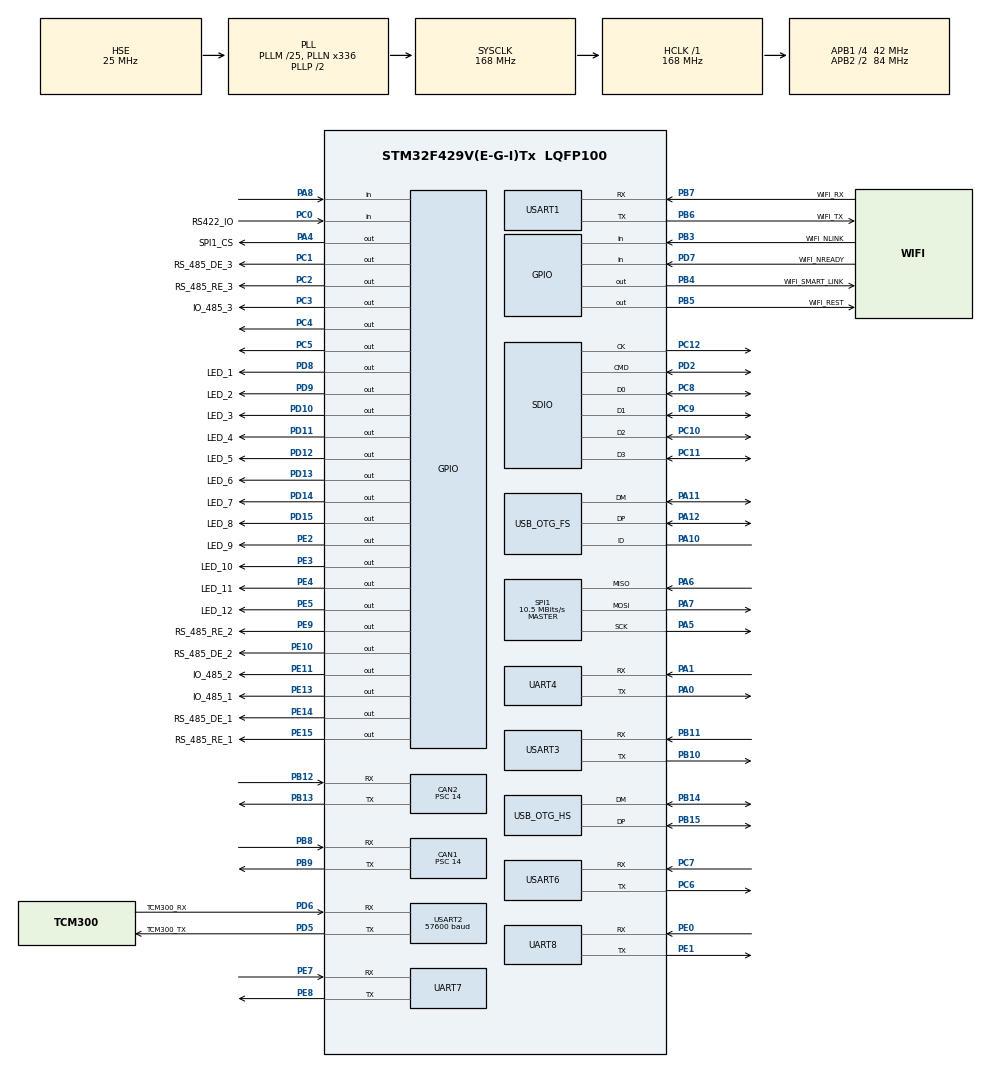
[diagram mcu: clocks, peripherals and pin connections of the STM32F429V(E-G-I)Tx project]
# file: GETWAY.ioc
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CAN1.BS1=CAN_BS1_2TQ
CAN1.BS2=CAN_BS2_3TQ
CAN1.CalculateTimeBit=2000
CAN1.CalculateTimeQuantum=333.33333333333337
CAN1.Prescaler=14
CAN2.BS1=CAN_BS1_3TQ
CAN2.BS2=CAN_BS2_2TQ
CAN2.CalculateTimeBit=2000
CAN2.CalculateTimeQuantum=333.33333333333337
CAN2.Prescaler=14
Dma.Request0=USART1_RX
Dma.Request1=USART1_TX
Dma.Request2=USART2_RX
Dma.Request3=USART2_TX
Dma.USART1_RX.0.Direction=DMA_PERIPH_TO_MEMORY
Dma.USART1_RX.0.FIFOMode=DMA_FIFOMODE_DISABLE
Dma.USART1_RX.0.Instance=DMA2_Stream2
Dma.USART1_RX.0.MemDataAlignment=DMA_MDATAALIGN_BYTE
Dma.USART1_RX.0.MemInc=DMA_MINC_ENABLE
Dma.USART1_RX.0.Mode=DMA_NORMAL
Dma.USART1_RX.0.PeriphDataAlignment=DMA_PDATAALIGN_BYTE
Dma.USART1_RX.0.PeriphInc=DMA_PINC_DISABLE
Dma.USART1_RX.0.Priority=DMA_PRIORITY_HIGH
Dma.USART1_TX.1.Direction=DMA_MEMORY_TO_PERIPH
Dma.USART1_TX.1.FIFOMode=DMA_FIFOMODE_DISABLE
Dma.USART1_TX.1.Instance=DMA2_Stream7
Dma.USART1_TX.1.MemDataAlignment=DMA_MDATAALIGN_BYTE
Dma.USART1_TX.1.MemInc=DMA_MINC_ENABLE
Dma.USART1_TX.1.Mode=DMA_NORMAL
Dma.USART1_TX.1.PeriphDataAlignment=DMA_PDATAALIGN_BYTE
Dma.USART1_TX.1.PeriphInc=DMA_PINC_DISABLE
Dma.USART1_TX.1.Priority=DMA_PRIORITY_HIGH
Dma.USART2_RX.2.Direction=DMA_PERIPH_TO_MEMORY
Dma.USART2_RX.2.FIFOMode=DMA_FIFOMODE_DISABLE
Dma.USART2_RX.2.Instance=DMA1_Stream5
Dma.USART2_RX.2.MemDataAlignment=DMA_MDATAALIGN_BYTE
Dma.USART2_RX.2.MemInc=DMA_MINC_ENABLE
Dma.USART2_RX.2.Mode=DMA_NORMAL
Dma.USART2_RX.2.PeriphDataAlignment=DMA_PDATAALIGN_BYTE
Dma.USART2_RX.2.PeriphInc=DMA_PINC_DISABLE
Dma.USART2_RX.2.Priority=DMA_PRIORITY_HIGH
Dma.USART2_TX.3.Direction=DMA_MEMORY_TO_PERIPH
Dma.USART2_TX.3.FIFOMode=DMA_FIFOMODE_DISABLE
Dma.USART2_TX.3.Instance=DMA1_Stream6
Dma.USART2_TX.3.MemDataAlignment=DMA_MDATAALIGN_BYTE
Dma.USART2_TX.3.MemInc=DMA_MINC_ENABLE
Dma.USART2_TX.3.Mode=DMA_NORMAL
Dma.USART2_TX.3.PeriphDataAlignment=DMA_PDATAALIGN_BYTE
Dma.USART2_TX.3.PeriphInc=DMA_PINC_DISABLE
Dma.USART2_TX.3.Priority=DMA_PRIORITY_HIGH
FATFS._CODE_PAGE=437
FATFS._USE_LFN=3
FREERTOS.INCLUDE_pcTaskGetTaskName=1
FREERTOS.INCLUDE_uxTaskGetStackHighWaterMark=1
FREERTOS.INCLUDE_xTaskGetCurrentTaskHandle=1
FREERTOS.Queues01=serial_queue,8,uint8_t,NULL;flash_queue,5,uint32_t,NULL;fatfs_queue,8,uint32_t,NULL;shell_queue,10,uint32_t,NULL;core_queue,10,uint32_t,NULL;tcm300_tx_queue,10,uint32_t,NULL
FREERTOS.Tasks01=shell,0,600,shellTask,Default;system_core,0,300,system_core_task,Default;serial_operat,2,400,serial_operat_task,Default;flash_server,2,600,flash_server_task,Default;fatfs_operater,2,600,fatfs_operater_task,Default;watcher_test,0,300,watcher_task,Default;web_server,0,128,web_server_task,Default
FREERTOS.configTOTAL_HEAP_SIZE=51200
FREERTOS.configUSE_IDLE_HOOK=1
FREERTOS.configUSE_TICK_HOOK=1
Mcu.Family=STM32F4
Mcu.Name=STM32F429V(E-G-I)Tx
Mcu.Package=LQFP100
NVIC.CAN1_RX0_IRQn=true\:5\:0\:false\:false\:true\:true
NVIC.DMA1_Stream5_IRQn=true\:5\:0\:false\:false\:true\:true
NVIC.DMA1_Stream6_IRQn=true\:5\:0\:false\:false\:true\:true
NVIC.DMA2_Stream2_IRQn=true\:5\:0\:false\:false\:true\:true
NVIC.DMA2_Stream7_IRQn=true\:5\:0\:false\:false\:true\:true
NVIC.OTG_HS_IRQn=true\:5\:0\:false\:false\:true\:true
NVIC.PriorityGroup=NVIC_PRIORITYGROUP_4
NVIC.SPI1_IRQn=true\:5\:0\:false\:false\:true\:true
NVIC.TIM1_BRK_TIM9_IRQn=true\:5\:0\:false\:false\:true\:true
NVIC.TIM1_UP_TIM10_IRQn=true\:0\:0\:false\:false\:true\:false
NVIC.TIM2_IRQn=true\:5\:0\:false\:false\:true\:true
NVIC.TIM3_IRQn=true\:5\:0\:false\:false\:true\:true
NVIC.TIM4_IRQn=true\:5\:0\:false\:false\:true\:true
NVIC.TIM6_DAC_IRQn=true\:5\:0\:false\:false\:true\:true
NVIC.TIM7_IRQn=true\:5\:0\:false\:false\:true\:true
NVIC.TIM8_UP_TIM13_IRQn=true\:5\:0\:false\:false\:true\:true
NVIC.TimeBase=TIM1_UP_TIM10_IRQn
NVIC.TimeBaseIP=TIM1
NVIC.UART7_IRQn=true\:8\:0\:true\:false\:true\:true
NVIC.UART8_IRQn=true\:11\:0\:true\:false\:true\:true
NVIC.USART1_IRQn=true\:5\:0\:false\:false\:true\:true
NVIC.USART2_IRQn=true\:5\:0\:false\:false\:true\:true
NVIC.USART6_IRQn=true\:5\:0\:false\:false\:true\:true
PA0/WKUP.Mode=Asynchronous
PA0/WKUP.Signal=UART4_TX
PA1.Mode=Asynchronous
PA1.Signal=UART4_RX
PA10.Mode=OTG/Dual_Role_Device
PA10.Signal=USB_OTG_FS_ID
PA11.Mode=OTG/Dual_Role_Device
PA11.Signal=USB_OTG_FS_DM
PA12.Mode=OTG/Dual_Role_Device
PA12.Signal=USB_OTG_FS_DP
PA13.Mode=Serial_Wire
PA13.Signal=SYS_JTMS-SWDIO
PA14.Mode=Serial_Wire
PA14.Signal=SYS_JTCK-SWCLK
PA4.GPIO_Label=SPI1_CS
PA4.GPIO_PuPd=GPIO_NOPULL
PA4.GPIO_Speed=GPIO_SPEED_FREQ_VERY_HIGH
PA4.Signal=GPIO_Output
PA5.Mode=Full_Duplex_Master
PA5.Signal=SPI1_SCK
PA6.Mode=Full_Duplex_Master
PA6.Signal=SPI1_MISO
PA7.Mode=Full_Duplex_Master
PA7.Signal=SPI1_MOSI
PA8.Signal=GPIO_Input
PB10.Mode=Asynchronous
PB10.Signal=USART3_TX
PB11.Mode=Asynchronous
PB11.Signal=USART3_RX
PB12.Mode=Slave
PB12.Signal=CAN2_RX
PB13.Mode=Slave
PB13.Signal=CAN2_TX
PB14.Mode=Host_FS
PB14.Signal=USB_OTG_HS_DM
PB15.Mode=Host_FS
PB15.Signal=USB_OTG_HS_DP
PB3.GPIO_Label=WIFI_NLINK
PB3.Signal=GPIO_Input
PB4.GPIO_Label=WIFI_SMART_LINK
PB4.GPIO_PuPd=GPIO_PULLUP
PB4.Signal=GPIO_Output
PB5.GPIO_Label=WIFI_REST
PB5.GPIO_PuPd=GPIO_PULLUP
PB5.Signal=GPIO_Output
PB6.GPIO_Label=WIFI_TX
PB6.Mode=Asynchronous
PB6.Signal=USART1_TX
PB7.GPIO_Label=WIFI_RX
PB7.Mode=Asynchronous
PB7.Signal=USART1_RX
PB8.Mode=Master
PB8.Signal=CAN1_RX
PB9.Mode=Master
PB9.Signal=CAN1_TX
PC0.GPIO_Label=RS422_IO
PC0.Signal=GPIO_Input
PC1.GPIO_Label=RS_485_DE_3
PC1.GPIO_Speed=GPIO_SPEED_FREQ_VERY_HIGH
PC1.Signal=GPIO_Output
PC10.Mode=SD_4_bits_Wide_bus
PC10.Signal=SDIO_D2
PC11.Mode=SD_4_bits_Wide_bus
PC11.Signal=SDIO_D3
PC12.Mode=SD_4_bits_Wide_bus
PC12.Signal=SDIO_CK
PC14/OSC32_IN.Mode=LSE-External-Oscillator
PC14/OSC32_IN.Signal=RCC_OSC32_IN
PC15/OSC32_OUT.Mode=LSE-External-Oscillator
PC15/OSC32_OUT.Signal=RCC_OSC32_OUT
PC2.GPIO_Label=RS_485_RE_3
PC2.GPIO_Speed=GPIO_SPEED_FREQ_VERY_HIGH
PC2.Signal=GPIO_Output
PC3.GPIO_Label=IO_485_3
PC3.GPIO_Speed=GPIO_SPEED_FREQ_VERY_HIGH
PC3.Signal=GPIO_Output
PC4.GPIO_PuPd=GPIO_PULLUP
PC4.Signal=GPIO_Output
PC5.GPIO_PuPd=GPIO_PULLUP
PC5.Signal=GPIO_Output
PC6.Mode=Asynchronous
PC6.Signal=USART6_TX
PC7.Mode=Asynchronous
PC7.Signal=USART6_RX
PC8.Mode=SD_4_bits_Wide_bus
PC8.Signal=SDIO_D0
PC9.Mode=SD_4_bits_Wide_bus
PC9.Signal=SDIO_D1
PD10.GPIO_Label=LED_3
PD10.GPIO_PuPd=GPIO_PULLUP
PD10.GPIO_Speed=GPIO_SPEED_FREQ_VERY_HIGH
PD10.Signal=GPIO_Output
PD11.GPIO_Label=LED_4
PD11.GPIO_PuPd=GPIO_PULLUP
PD11.GPIO_Speed=GPIO_SPEED_FREQ_VERY_HIGH
PD11.Signal=GPIO_Output
PD12.GPIO_Label=LED_5
PD12.GPIO_PuPd=GPIO_PULLUP
PD12.GPIO_Speed=GPIO_SPEED_FREQ_VERY_HIGH
PD12.Signal=GPIO_Output
PD13.GPIO_Label=LED_6
PD13.GPIO_PuPd=GPIO_PULLUP
PD13.GPIO_Speed=GPIO_SPEED_FREQ_VERY_HIGH
PD13.Signal=GPIO_Output
PD14.GPIO_Label=LED_7
PD14.GPIO_PuPd=GPIO_PULLUP
PD14.GPIO_Speed=GPIO_SPEED_FREQ_VERY_HIGH
PD14.Signal=GPIO_Output
PD15.GPIO_Label=LED_8
PD15.GPIO_PuPd=GPIO_PULLUP
PD15.GPIO_Speed=GPIO_SPEED_FREQ_VERY_HIGH
PD15.Signal=GPIO_Output
PD2.Mode=SD_4_bits_Wide_bus
PD2.Signal=SDIO_CMD
PD5.GPIO_Label=TCM300_TX
PD5.Mode=Asynchronous
PD5.Signal=USART2_TX
PD6.GPIO_Label=TCM300_RX
PD6.Mode=Asynchronous
PD6.Signal=USART2_RX
PD7.GPIO_Label=WIFI_NREADY
PD7.Signal=GPIO_Input
PD8.GPIO_Label=LED_1
PD8.GPIO_Speed=GPIO_SPEED_FREQ_VERY_HIGH
PD8.Signal=GPIO_Output
PD9.GPIO_Label=LED_2
PD9.GPIO_Speed=GPIO_SPEED_FREQ_VERY_HIGH
PD9.Signal=GPIO_Output
PE0.Mode=Asynchronous
PE0.Signal=UART8_RX
PE1.Mode=Asynchronous
PE1.Signal=UART8_TX
PE10.GPIO_Label=RS_485_DE_2
PE10.GPIO_Speed=GPIO_SPEED_FREQ_VERY_HIGH
PE10.Signal=GPIO_Output
PE11.GPIO_Label=IO_485_2
PE11.GPIO_Speed=GPIO_SPEED_FREQ_VERY_HIGH
PE11.Signal=GPIO_Output
PE13.GPIO_Label=IO_485_1
PE13.GPIO_Speed=GPIO_SPEED_FREQ_VERY_HIGH
PE13.Signal=GPIO_Output
PE14.GPIO_Label=RS_485_DE_1
PE14.GPIO_Speed=GPIO_SPEED_FREQ_VERY_HIGH
PE14.Signal=GPIO_Output
PE15.GPIO_Label=RS_485_RE_1
PE15.GPIO_Speed=GPIO_SPEED_FREQ_VERY_HIGH
PE15.Signal=GPIO_Output
PE2.GPIO_Label=LED_9
PE2.GPIO_PuPd=GPIO_PULLUP
PE2.GPIO_Speed=GPIO_SPEED_FREQ_VERY_HIGH
PE2.Signal=GPIO_Output
PE3.GPIO_Label=LED_10
PE3.GPIO_PuPd=GPIO_PULLUP
PE3.GPIO_Speed=GPIO_SPEED_FREQ_VERY_HIGH
PE3.Signal=GPIO_Output
PE4.GPIO_Label=LED_11
PE4.GPIO_PuPd=GPIO_PULLUP
PE4.GPIO_Speed=GPIO_SPEED_FREQ_VERY_HIGH
PE4.Signal=GPIO_Output
PE5.GPIO_Label=LED_12
PE5.GPIO_PuPd=GPIO_PULLUP
PE5.GPIO_Speed=GPIO_SPEED_FREQ_VERY_HIGH
PE5.Signal=GPIO_Output
PE7.Mode=Asynchronous
PE7.Signal=UART7_RX
PE8.Mode=Asynchronous
PE8.Signal=UART7_TX
PE9.GPIO_Label=RS_485_RE_2
PE9.GPIO_Speed=GPIO_SPEED_FREQ_VERY_HIGH
PE9.Signal=GPIO_Output
PH0/OSC_IN.Mode=HSE-External-Oscillator
PH0/OSC_IN.Signal=RCC_OSC_IN
PH1/OSC_OUT.Mode=HSE-External-Oscillator
PH1/OSC_OUT.Signal=RCC_OSC_OUT
ProjectManager.HeapSize=0x1000
ProjectManager.StackSize=0x1400
ProjectManager.TargetToolchain=MDK-ARM V5
RCC.48MHZClocksFreq_Value=48000000
RCC.AHBFreq_Value=168000000
RCC.APB1CLKDivider=RCC_HCLK_DIV4
RCC.APB1Freq_Value=42000000
RCC.APB1TimFreq_Value=84000000
RCC.APB2CLKDivider=RCC_HCLK_DIV2
RCC.APB2Freq_Value=84000000
RCC.APB2TimFreq_Value=168000000
RCC.CortexFreq_Value=168000000
RCC.HCLKFreq_Value=168000000
RCC.HSE_VALUE=25000000
RCC.HSI_VALUE=16000000
RCC.PLLM=25
RCC.PLLN=336
RCC.PLLQ=7
RCC.RCC_RTC_Clock_Source=RCC_RTCCLKSOURCE_LSE
RCC.RCC_RTC_Clock_SourceVirtual=RCC_RTCCLKSOURCE_LSE
RCC.SYSCLKFreq_VALUE=168000000
RCC.SYSCLKSource=RCC_SYSCLKSOURCE_PLLCLK
RCC.VCOOutputFreq_Value=336000000
RTC.Format=RTC_FORMAT_BIN
RTC.Hours=12
RTC.Minutes=23
RTC.Seconds=34
SDIO.BusWide=SDIO_BUS_WIDE_1B
SDIO.ClockDiv=2
SDIO.WideMode=SDIO_BUS_WIDE_4B
SPI1.BaudRatePrescaler=SPI_BAUDRATEPRESCALER_8
SPI1.CalculateBaudRate=10.5 MBits/s
SPI1.Mode=SPI_MODE_MASTER
SPI1.TIMode=SPI_TIMODE_DISABLE
TIM2.Period=2999
TIM2.Prescaler=83
TIM3.Period=1999
TIM3.Prescaler=83
TIM4.Period=999
TIM4.Prescaler=83
TIM5.Period=999
TIM5.Prescaler=83
TIM6.Period=999
TIM6.Prescaler=83
TIM7.Period=999
TIM7.Prescaler=83
TIM8.Period=999
TIM8.Prescaler=167
TIM9.Period=999
TIM9.Prescaler=167
USART2.BaudRate=57600
USB_HOST.USBH_HandleTypeDef-MSC_HS=hUsbHostHS
USB_HOST.VirtualModeHS=Msc
USB_OTG_HS.VirtualMode-Host_FS=Host_FS
VP_FATFS_VS_SDIO.Mode=SDIO
VP_FATFS_VS_USB.Mode=USB
VP_FREERTOS_VS_ENABLE.Mode=Enabled
VP_RTC_VS_RTC_WakeUp_intern.Mode=WakeUp
VP_SYS_VS_tim1.Mode=TIM1
VP_TIM2_VS_ClockSourceINT.Mode=Internal
VP_TIM3_VS_ClockSourceINT.Mode=Internal
VP_TIM4_VS_ClockSourceINT.Mode=Internal
VP_TIM5_VS_ClockSourceINT.Mode=Internal
VP_TIM6_VS_ClockSourceINT.Mode=Enable_Timer
VP_TIM7_VS_ClockSourceINT.Mode=Enable_Timer
VP_TIM8_VS_ClockSourceINT.Mode=Internal
VP_TIM9_VS_ClockSourceINT.Mode=Internal
VP_USB_HOST_VS_USB_HOST_MSC_HS.Mode=MSC_HS
board=GETWAY

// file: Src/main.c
/**
  ******************************************************************************
  * File Name          : main.c
  * Description        : Main program body
  ******************************************************************************
  *
  * COPYRIGHT(c) 2017 STMicroelectronics
  *
  * Redistribution and use in source and binary forms, with or without modification,
  * are permitted provided that the following conditions are met:
  *   1. Redistributions of source code must retain the above copyright notice,
  *      this list of conditions and the following disclaimer.
  *   2. Redistributions in binary form must reproduce the above copyright notice,
  *      this list of conditions and the following disclaimer in the documentation
  *      and/or other materials provided with the distribution.
  *   3. Neither the name of STMicroelectronics nor the names of its contributors
  *      may be used to endorse or promote products derived from this software
  *      without specific prior written permission.
  *
  * THIS SOFTWARE IS PROVIDED BY THE COPYRIGHT HOLDERS AND CONTRIBUTORS "AS IS"
  * AND ANY EXPRESS OR IMPLIED WARRANTIES, INCLUDING, BUT NOT LIMITED TO, THE
  * IMPLIED WARRANTIES OF MERCHANTABILITY AND FITNESS FOR A PARTICULAR PURPOSE ARE
  * DISCLAIMED. IN NO EVENT SHALL THE COPYRIGHT HOLDER OR CONTRIBUTORS BE LIABLE
  * FOR ANY DIRECT, INDIRECT, INCIDENTAL, SPECIAL, EXEMPLARY, OR CONSEQUENTIAL
  * DAMAGES (INCLUDING, BUT NOT LIMITED TO, PROCUREMENT OF SUBSTITUTE GOODS OR
  * SERVICES; LOSS OF USE, DATA, OR PROFITS; OR BUSINESS INTERRUPTION) HOWEVER
  * CAUSED AND ON ANY THEORY OF LIABILITY, WHETHER IN CONTRACT, STRICT LIABILITY,
  * OR TORT (INCLUDING NEGLIGENCE OR OTHERWISE) ARISING IN ANY WAY OUT OF THE USE
  * OF THIS SOFTWARE, EVEN IF ADVISED OF THE POSSIBILITY OF SUCH DAMAGE.
  *
  ******************************************************************************
  */
#include "stm32f4xx_hal.h"
#include "cmsis_os.h"
#include "can.h"
#include "dma.h"
#include "fatfs.h"
#include "rtc.h"
#include "sdio.h"
#include "spi.h"
#include "tim.h"
#include "usart.h"
#include "usb_host.h"
#include "usb_otg_fs.h"
#include "gpio.h"

/* USER CODE BEGIN Includes */
#include "include.h"

extern unsigned char G_Usart1_Buff,G_Usart2_Buff,G_Usart3_Buff,G_Usart4_Buff,G_Usart5_Buff,G_Usart6_Buff;
extern osMessageQId serial_queueHandle;
extern osMessageQId flash_queueHandle;
extern osMessageQId fatfs_queueHandle;
extern osMessageQId shell_queueHandle;

void HAL_UART_RxCpltCallback(UART_HandleTypeDef *huart)
{
 	BaseType_t xHigherPriorityTaskWoken;
	xHigherPriorityTaskWoken = pdFALSE;
	 if(huart->Instance == USART6)
	 	{
	 		xQueueSendFromISR(shell_queueHandle,&G_Usart6_Buff,&xHigherPriorityTaskWoken);
	 	}
}

/* USER CODE END Includes */

/* USER CODE BEGIN PV */
/* Private variables ---------------------------------------------------------*/

/* USER CODE END PV */

void SystemClock_Config(void);
void Error_Handler(void);
void MX_FREERTOS_Init(void);

/* USER CODE BEGIN PFP */
/* Private function prototypes -----------------------------------------------*/

/* USER CODE END PFP */

int main(void)
{

  /* MCU Configuration----------------------------------------------------------*/

  /* Reset of all peripherals, Initializes the Flash interface and the Systick. */
  HAL_Init();

  /* Configure the system clock */
  SystemClock_Config();

  /* Initialize all configured peripherals */
  MX_GPIO_Init();
  MX_DMA_Init();
  MX_CAN1_Init();
  MX_CAN2_Init();
  MX_RTC_Init();
  MX_SDIO_SD_Init();
  MX_SPI1_Init();
  MX_UART4_Init();
  MX_UART7_Init();
  MX_UART8_Init();
  MX_USART1_UART_Init();
  MX_USART2_UART_Init();
  MX_USART3_UART_Init();
  MX_USART6_UART_Init();
  MX_USB_OTG_FS_USB_Init();
  MX_TIM2_Init();
  MX_TIM3_Init();
  MX_TIM4_Init();
  MX_TIM5_Init();
  MX_TIM6_Init();
  MX_TIM7_Init();
  MX_TIM8_Init();
  MX_TIM9_Init();

  /* USER CODE BEGIN 2 */
	RELEASE_WIFI_RESET;
	RELEASE_SMART_LINK;
	printf("\n\r\n\r        mcu init success!\n\r");
	printf("        starting freertos kernel...\n\r");
	//SET_SMART_LINK;

while(HAL_UART_Receive_IT(&huart6,&G_Usart6_Buff,1)==HAL_OK);

	my_usart1_init();
	//my_usart2_init();
  /* USER CODE END 2 */

  /* Call init function for freertos objects (in freertos.c) */
  MX_FREERTOS_Init();

  /* Start scheduler */
  osKernelStart();

  /* We should never get here as control is now taken by the scheduler */

  /* Infinite loop */
  while (1)
  {

  }

}

/** System Clock Configuration
*/
void SystemClock_Config(void)
{

  RCC_OscInitTypeDef RCC_OscInitStruct;
  RCC_ClkInitTypeDef RCC_ClkInitStruct;
  RCC_PeriphCLKInitTypeDef PeriphClkInitStruct;

  __HAL_RCC_PWR_CLK_ENABLE();

  __HAL_PWR_VOLTAGESCALING_CONFIG(PWR_REGULATOR_VOLTAGE_SCALE1);

  RCC_OscInitStruct.OscillatorType = RCC_OSCILLATORTYPE_HSE|RCC_OSCILLATORTYPE_LSE;
  RCC_OscInitStruct.HSEState = RCC_HSE_ON;
  RCC_OscInitStruct.LSEState = RCC_LSE_ON;
  RCC_OscInitStruct.PLL.PLLState = RCC_PLL_ON;
  RCC_OscInitStruct.PLL.PLLSource = RCC_PLLSOURCE_HSE;
  RCC_OscInitStruct.PLL.PLLM = 25;
  RCC_OscInitStruct.PLL.PLLN = 336;
  RCC_OscInitStruct.PLL.PLLP = RCC_PLLP_DIV2;
  RCC_OscInitStruct.PLL.PLLQ = 7;
  if (HAL_RCC_OscConfig(&RCC_OscInitStruct) != HAL_OK)
  {
    Error_Handler();
  }

  RCC_ClkInitStruct.ClockType = RCC_CLOCKTYPE_HCLK|RCC_CLOCKTYPE_SYSCLK
                              |RCC_CLOCKTYPE_PCLK1|RCC_CLOCKTYPE_PCLK2;
  RCC_ClkInitStruct.SYSCLKSource = RCC_SYSCLKSOURCE_PLLCLK;
  RCC_ClkInitStruct.AHBCLKDivider = RCC_SYSCLK_DIV1;
  RCC_ClkInitStruct.APB1CLKDivider = RCC_HCLK_DIV4;
  RCC_ClkInitStruct.APB2CLKDivider = RCC_HCLK_DIV2;
  if (HAL_RCC_ClockConfig(&RCC_ClkInitStruct, FLASH_LATENCY_5) != HAL_OK)
  {
    Error_Handler();
  }

  PeriphClkInitStruct.PeriphClockSelection = RCC_PERIPHCLK_RTC;
  PeriphClkInitStruct.RTCClockSelection = RCC_RTCCLKSOURCE_LSE;
  if (HAL_RCCEx_PeriphCLKConfig(&PeriphClkInitStruct) != HAL_OK)
  {
    Error_Handler();
  }

  HAL_SYSTICK_Config(HAL_RCC_GetHCLKFreq()/1000);

  HAL_SYSTICK_CLKSourceConfig(SYSTICK_CLKSOURCE_HCLK);

  /* SysTick_IRQn interrupt configuration */
  HAL_NVIC_SetPriority(SysTick_IRQn, 15, 0);
}

void HAL_TIM_PeriodElapsedCallback(TIM_HandleTypeDef *htim)
{
/* USER CODE BEGIN Callback 0 */
	BaseType_t xHigherPriorityTaskWoken;
	xHigherPriorityTaskWoken = pdFALSE;
	if (htim->Instance == TIM2) {
  	HAL_TIM_Base_Stop_IT(&htim2);
	if(data_from_tcm300.dma_cndtr ==  huart2.hdmarx->Instance->NDTR)
		{
		        HAL_UART_DMAStop(&huart2);
			data_from_tcm300.data_len = TCM300_RECV_BUFF_SIZE -data_from_tcm300.dma_cndtr;
			Tcm300_Mesg = USART2_RECV_DATA;
			xQueueSendFromISR(serial_queueHandle,&Tcm300_Mesg,&xHigherPriorityTaskWoken);
			transfer_tcm300_rxdata();
			HAL_UART_Receive_DMA(&huart2, data_from_tcm300.rx_data, TCM300_RECV_BUFF_SIZE);
		}
	else
		{
			HAL_TIM_Base_Start_IT(&htim2);
			data_from_tcm300.dma_cndtr =  huart2.hdmarx->Instance->NDTR;
		}
  	}

	if (htim->Instance == TIM3) {
  	HAL_TIM_Base_Stop_IT(&htim3);
	if(data_from_wifi.dma_cndtr ==  huart1.hdmarx->Instance->NDTR)
		{
		        HAL_UART_DMAStop(&huart1);
			data_from_wifi.data_len = WIFI_RECV_BUFF_SIZE -data_from_wifi.dma_cndtr;
			Wifi_Mesg = USART1_RECV_DATA;
			xQueueSendFromISR(serial_queueHandle,&Wifi_Mesg,&xHigherPriorityTaskWoken);
			transfer_wifi_rxdata();
			HAL_UART_Receive_DMA(&huart1, data_from_wifi.rx_data, WIFI_RECV_BUFF_SIZE);
		}
	else
		{
			HAL_TIM_Base_Start_IT(&htim3);
			data_from_wifi.dma_cndtr =  huart1.hdmarx->Instance->NDTR;
		}
 	}
/* USER CODE END Callback 0 */
  if (htim->Instance == TIM1) {
    HAL_IncTick();
  }
}

void Error_Handler(void)
{
  while(1)
  {
  }
}

/************************ (C) COPYRIGHT STMicroelectronics *****END OF FILE****/

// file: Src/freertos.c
/**
  ******************************************************************************
  * File Name          : freertos.c
  * Description        : Code for freertos applications
  ******************************************************************************
  *
  * COPYRIGHT(c) 2017 STMicroelectronics
  *
  * Redistribution and use in source and binary forms, with or without modification,
  * are permitted provided that the following conditions are met:
  *   1. Redistributions of source code must retain the above copyright notice,
  *      this list of conditions and the following disclaimer.
  *   2. Redistributions in binary form must reproduce the above copyright notice,
  *      this list of conditions and the following disclaimer in the documentation
  *      and/or other materials provided with the distribution.
  *   3. Neither the name of STMicroelectronics nor the names of its contributors
  *      may be used to endorse or promote products derived from this software
  *      without specific prior written permission.
  *
  * THIS SOFTWARE IS PROVIDED BY THE COPYRIGHT HOLDERS AND CONTRIBUTORS "AS IS"
  * AND ANY EXPRESS OR IMPLIED WARRANTIES, INCLUDING, BUT NOT LIMITED TO, THE
  * IMPLIED WARRANTIES OF MERCHANTABILITY AND FITNESS FOR A PARTICULAR PURPOSE ARE
  * DISCLAIMED. IN NO EVENT SHALL THE COPYRIGHT HOLDER OR CONTRIBUTORS BE LIABLE
  * FOR ANY DIRECT, INDIRECT, INCIDENTAL, SPECIAL, EXEMPLARY, OR CONSEQUENTIAL
  * DAMAGES (INCLUDING, BUT NOT LIMITED TO, PROCUREMENT OF SUBSTITUTE GOODS OR
  * SERVICES; LOSS OF USE, DATA, OR PROFITS; OR BUSINESS INTERRUPTION) HOWEVER
  * CAUSED AND ON ANY THEORY OF LIABILITY, WHETHER IN CONTRACT, STRICT LIABILITY,
  * OR TORT (INCLUDING NEGLIGENCE OR OTHERWISE) ARISING IN ANY WAY OUT OF THE USE
  * OF THIS SOFTWARE, EVEN IF ADVISED OF THE POSSIBILITY OF SUCH DAMAGE.
  *
  ******************************************************************************
  */

#include "FreeRTOS.h"
#include "task.h"
#include "cmsis_os.h"
#include <string.h>
/* USER CODE BEGIN Includes */
#include "include.h"
/* USER CODE END Includes */

osThreadId shellHandle;
osThreadId system_coreHandle;
osThreadId serial_operatHandle;
osThreadId flash_serverHandle;
osThreadId fatfs_operaterHandle;
osThreadId watcher_testHandle;
osThreadId web_serverHandle;
osMessageQId serial_queueHandle;
osMessageQId flash_queueHandle;
osMessageQId fatfs_queueHandle;
osMessageQId shell_queueHandle;
osMessageQId core_queueHandle;
osMessageQId tcm300_tx_queueHandle;

/* USER CODE BEGIN Variables */
extern S_Save_Telegraph_cfg save_tel_cfg;
extern unsigned char G_Usart1_Buff,G_Usart2_Buff,G_Usart3_Buff,G_Usart4_Buff,G_Usart5_Buff,G_Usart6_Buff;

/* USER CODE END Variables */

void shellTask(void const * argument);
void system_core_task(void const * argument);
void serial_operat_task(void const * argument);
void flash_server_task(void const * argument);
void fatfs_operater_task(void const * argument);
void watcher_task(void const * argument);
void web_server_task(void const * argument);

extern void MX_FATFS_Init(void);
extern void MX_USB_HOST_Init(void);
void MX_FREERTOS_Init(void); /* (MISRA C 2004 rule 8.1) */

/* Hook prototypes */
void vApplicationIdleHook(void);
void vApplicationTickHook(void);

/* USER CODE BEGIN 2 */

void test_func(void)
{
	unsigned char loop100;
	char buf[10];
	for(loop100 = 0 ; loop100 <10 ; loop100++)
		{
			buf[loop100] = loop100;
			printf("func_buf[%d]->%p\r\n",loop100,&buf[loop100]);
		}
	//return buf;
}

/* USER CODE END 2 */

/* Init FreeRTOS */

void MX_FREERTOS_Init(void) {

  /* Create the thread(s) */
  /* definition and creation of shell */
  osThreadDef(shell, shellTask, osPriorityNormal, 0, 600);
  shellHandle = osThreadCreate(osThread(shell), NULL);

  /* definition and creation of system_core */
  osThreadDef(system_core, system_core_task, osPriorityNormal, 0, 300);
  system_coreHandle = osThreadCreate(osThread(system_core), NULL);

  /* definition and creation of serial_operat */
  osThreadDef(serial_operat, serial_operat_task, osPriorityHigh, 0, 400);
  serial_operatHandle = osThreadCreate(osThread(serial_operat), NULL);

  /* definition and creation of flash_server */
  osThreadDef(flash_server, flash_server_task, osPriorityHigh, 0, 600);
  flash_serverHandle = osThreadCreate(osThread(flash_server), NULL);

  /* definition and creation of fatfs_operater */
  osThreadDef(fatfs_operater, fatfs_operater_task, osPriorityHigh, 0, 600);
  fatfs_operaterHandle = osThreadCreate(osThread(fatfs_operater), NULL);

  /* definition and creation of watcher_test */
  osThreadDef(watcher_test, watcher_task, osPriorityNormal, 0, 300);
  watcher_testHandle = osThreadCreate(osThread(watcher_test), NULL);

  /* definition and creation of web_server */
  osThreadDef(web_server, web_server_task, osPriorityNormal, 0, 128);
  web_serverHandle = osThreadCreate(osThread(web_server), NULL);

  /* Create the queue(s) */
  /* definition and creation of serial_queue */
  osMessageQDef(serial_queue, 8, uint8_t);
  serial_queueHandle = osMessageCreate(osMessageQ(serial_queue), NULL);

  /* definition and creation of flash_queue */
  osMessageQDef(flash_queue, 5, uint32_t);
  flash_queueHandle = osMessageCreate(osMessageQ(flash_queue), NULL);

  /* definition and creation of fatfs_queue */
  osMessageQDef(fatfs_queue, 8, uint32_t);
  fatfs_queueHandle = osMessageCreate(osMessageQ(fatfs_queue), NULL);

  /* definition and creation of shell_queue */
  osMessageQDef(shell_queue, 10, uint32_t);
  shell_queueHandle = osMessageCreate(osMessageQ(shell_queue), NULL);

  /* definition and creation of core_queue */
  osMessageQDef(core_queue, 10, uint32_t);
  core_queueHandle = osMessageCreate(osMessageQ(core_queue), NULL);

  /* definition and creation of tcm300_tx_queue */
  osMessageQDef(tcm300_tx_queue, 10, uint32_t);
  tcm300_tx_queueHandle = osMessageCreate(osMessageQ(tcm300_tx_queue), NULL);

}

/* shellTask function */
void shellTask(void const * argument)
{
  /* init code for FATFS */
  MX_FATFS_Init();

  /* init code for USB_HOST */
  MX_USB_HOST_Init();

  /* USER CODE BEGIN shellTask */
  	save_task_info();
	printf("\n\r\n\r        kernel start success!\n\r");
	printf("        stm32 shell strat!\n\r\n\r");

	load_dict(position_sd_card);
	load_telegraph_cfg_to_ram(&save_tel_cfg);
	load_telegraph_to_ram_as_map();

  	InitW5500();
	printf("SD Card information : total size :%ldMb  freesize : %ldMb\n\r",((SDCard.n_fatent*SDCard.csize/2)/1024),((SDCard.free_clust*SDCard.csize/2)/1024));

	unsigned char recv_data;

  /* USER CODE BEGIN shellTask */
  /* Infinite loop */
  for(;;)
  {
	xQueueReceive(shell_queueHandle, &recv_data, portMAX_DELAY);
	while(HAL_UART_Receive_IT(&huart6,&G_Usart6_Buff,1)==HAL_OK);
	//printf("%c",recv_data);
	explain_cmd(recv_data);
  }
  /* USER CODE END shellTask */
}

/* system_core_task function */
void system_core_task(void const * argument)
{
  /* USER CODE BEGIN system_core_task */
  	save_task_info();
  	//unsigned short led_data = 0,data;
  /* Infinite loop */
  for(;;)
  {
	/*led_data ++;
	data = led_data << 8;
	HAL_GPIO_WritePin(GPIOD,0XFF00,GPIO_PIN_SET);
	HAL_GPIO_WritePin(GPIOD,data,GPIO_PIN_RESET);*/
	osDelay(20);
	while(HAL_UART_Receive_IT(&huart6,&G_Usart6_Buff,1)==HAL_OK);
  }
  /* USER CODE END system_core_task */
}

/* serial_operat_task function */
void serial_operat_task(void const * argument)
{
  /* USER CODE BEGIN serial_operat_task */
  unsigned char serial_value;
  save_task_info();
  char task_buf[100];
  char log_buf[100];
  static char save_buf[1024];
  static char recv_num = 0;
  /* Infinite loop */
  for(;;)
  {
  	xQueueReceive(serial_queueHandle, &serial_value, portMAX_DELAY);
	switch(serial_value)
		{
			case USART1_RECV_DATA:
				//send(1,data_from_tcm300.rx_data,data_from_tcm300.data_len);//通过socket1 发送信息
				HAL_UART_Transmit(&huart1,P_CURRENT_WIFI_RX_DATA, CURRENT_WIFI_RX_DATA_LENGTH, 200);
				FINISH_DEAL_WIFI_RX_DATA;

				break;
			case USART2_RECV_DATA:
				task_deal_tcm300();
				//send(4,P_CURRENT_TCM300_RX_DATA,CURRENT_TCM300_RX_DATA_LENGTH);
				set_string(task_buf,100,0);
				set_string(log_buf,100,0);
				hex_to_str(task_buf,P_CURRENT_TCM300_RX_DATA,CURRENT_TCM300_RX_DATA_LENGTH);
				sprintf(log_buf,"recv : %s\r\n",task_buf);
				printf("%s",log_buf);
				if(recv_num < 10)
					{
						strcat(save_buf,log_buf);
						recv_num++;
					}
				else
					{
						recv_num = 0;
						save_tcm300_log(save_buf,string_length(save_buf));
						set_string(save_buf,1024,0);
					}
				FINISH_DEAL_TCM300_RX_DATA;
				break;

			case USART3_RECV_DATA:
				break;

			case USART4_RECV_DATA:
				break;

			case USART5_RECV_DATA:
				break;

			case USART6_RECV_DATA:
				break;

		}
  }
  /* USER CODE END serial_operat_task */
}

/* flash_server_task function */
void flash_server_task(void const * argument)
{
  /* USER CODE BEGIN flash_server_task */
  	osDelay(100);
	save_task_info();
  /* Infinite loop */
  for(;;)
  {
    osDelay(1);
  }
  /* USER CODE END flash_server_task */
}

/* fatfs_operater_task function */
void fatfs_operater_task(void const * argument)
{
  /* USER CODE BEGIN fatfs_operater_task */
	save_task_info();
	osDelay(1000);
	 unsigned char num = 10;
 	 //__disable_irq();
 	 do
 	 	{
			res = f_mount(&USB_device, USBH_Path,1);
 	 	}while(res!=0 && num--);

	//__enable_irq();
	if(res != 0)
		{
			printf("\r\nUSB_device mount error !!\r\n");
			printf("stm32->");
		}
	else
		{
			printf("USB Dev information : total size :%ldMb  freesize : %ldMb\n\r",((USB_device.n_fatent*USB_device.csize/2)/1024),((USB_device.free_clust*USB_device.csize/2)/1024));
			printf("stm32->");
		}
  /* Infinite loop */
  for(;;)
  {
    osDelay(1);
  }
  /* USER CODE END fatfs_operater_task */
}

/* watcher_task function */
void watcher_task(void const * argument)
{
  /* USER CODE BEGIN watcher_task */
	save_task_info();
//static My_tskTCB* this_handle;
//this_handle = (My_tskTCB*)xTaskGetCurrentTaskHandle();

//char buf2[10];

//char buf[10];
//unsigned loop100;
//for(loop100 = 0 ; loop100 <10 ; loop100++)
//{
	//buf[loop100] = loop100;
	//printf("buf1_p[%d] -> %p\r\n",loop100,&buf[loop100]);
//}

//for(loop100 = 0 ; loop100 <10 ; loop100++)
//{
	//buf2[loop100] = loop100;
	//printf("buf2_p[%d] -> %p\r\n",loop100,&buf2[loop100]);
//}

//test_func();

//test_func();

  osDelay(5000);
  //read_tcm300_id();
  /* Infinite loop */
  for(;;)
  {
 	osDelay(50);
  }
  /* USER CODE END watcher_task */
}

/* web_server_task function */
void web_server_task(void const * argument)
{
  /* USER CODE BEGIN web_server_task */
  save_task_info();
  osDelay(5000);
  /* Infinite loop */
  for(;;)
  {
	do_http();
	osDelay(20);
  }
  /* USER CODE END web_server_task */
}

/************************ (C) COPYRIGHT STMicroelectronics *****END OF FILE****/
